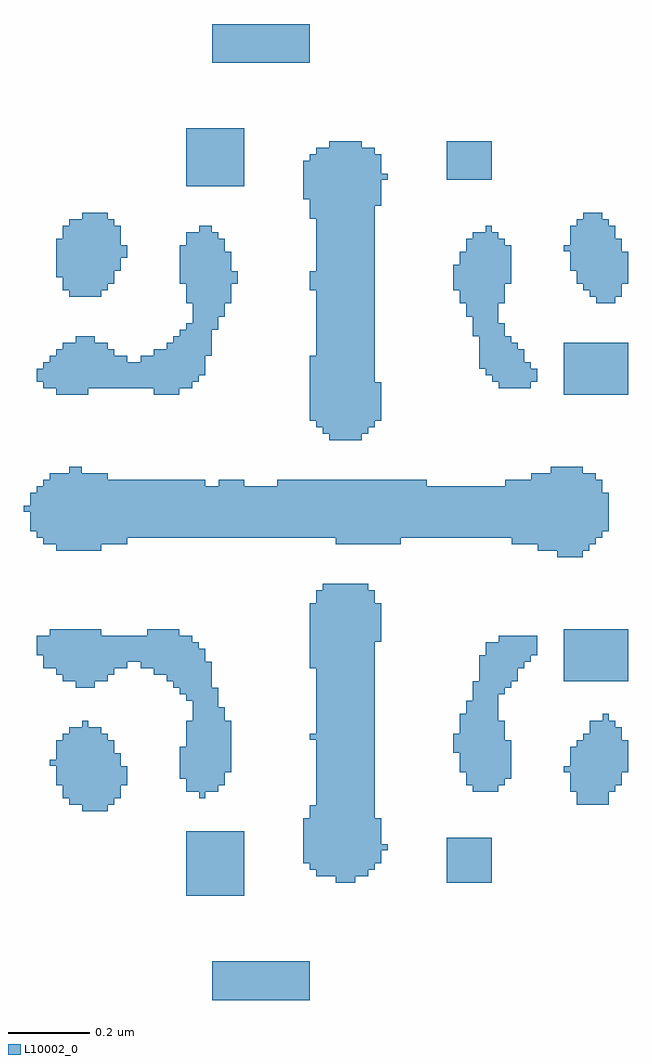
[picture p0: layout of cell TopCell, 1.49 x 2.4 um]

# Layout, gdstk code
import gdstk
lib = gdstk.Library(unit=1e-6, precision=1e-09)
def R(c, l, rs):  # rectangles x0, y0, x1, y1
    for r in rs: c.add(gdstk.rectangle(r[:2], r[2:], *l))
L10002_0 = (10002, 0)

topcell = lib.new_cell('TopCell')
R(topcell, L10002_0, [(1.472,0.72,1.711,0.815), (1.408,0.976,1.551,1.135), (1.776,1.008,1.823,1.024), (2.048,1.008,2.159,1.119), (1.728,1.024,1.855,1.04), (1.712,1.04,1.728,1.199), (1.728,1.04,1.871,1.727), (1.696,1.056,1.712,1.167), (1.871,1.056,1.887,1.167), (1.887,1.088,1.903,1.103), (1.152,1.184,1.215,1.2), (1.12,1.2,1.231,1.216), (2.368,1.2,2.447,1.359), (1.104,1.216,1.231,1.359), (1.231,1.216,1.247,1.327), (1.44,1.216,1.455,1.232), (1.408,1.232,1.487,1.248), (2.112,1.232,2.175,1.248), (2.352,1.232,2.368,1.343), (2.447,1.232,2.463,1.359), (1.088,1.248,1.104,1.359), (1.247,1.248,1.263,1.295), (1.408,1.248,1.424,1.407), (1.424,1.248,1.439,1.456), (1.439,1.248,1.455,1.583), (1.455,1.248,1.471,1.551), (1.471,1.248,1.487,1.487), (1.487,1.248,1.503,1.439), (2.096,1.248,2.175,1.455), (2.175,1.248,2.191,1.407), (2.463,1.248,2.479,1.359), (1.392,1.264,1.408,1.343), (2.191,1.264,2.207,1.359), (1.503,1.28,1.519,1.407), (2.08,1.28,2.096,1.423), (2.336,1.28,2.352,1.295), (2.479,1.28,2.495,1.359), (1.072,1.296,1.088,1.311), (2.064,1.328,2.08,1.375), (1.104,1.359,1.215,1.375), (2.384,1.359,2.479,1.375), (1.712,1.36,1.728,1.375), (1.12,1.375,1.199,1.391), (2.4,1.375,2.479,1.391), (1.152,1.391,1.167,1.407), (2.4,1.391,2.463,1.407), (2.432,1.407,2.447,1.423), (2.112,1.455,2.175,1.503), (1.408,1.456,1.439,1.472), (1.392,1.472,1.439,1.488), (2.175,1.472,2.191,1.567), (1.136,1.488,1.183,1.504), (1.376,1.488,1.439,1.504), (2.191,1.488,2.207,1.599), (2.128,1.503,2.175,1.567), (1.104,1.504,1.215,1.52), (1.36,1.504,1.439,1.52), (2.207,1.504,2.223,1.599), (2.336,1.504,2.495,1.631), (1.088,1.52,1.231,1.536), (1.328,1.52,1.439,1.536), (1.056,1.536,1.072,1.615), (1.072,1.536,1.088,1.631), (1.088,1.536,1.263,1.552), (1.296,1.536,1.439,1.552), (1.712,1.536,1.728,1.695), (2.223,1.536,2.239,1.599), (1.088,1.552,1.439,1.599), (2.239,1.552,2.255,1.615), (2.144,1.567,2.191,1.599), (1.04,1.568,1.056,1.615), (2.255,1.568,2.271,1.615), (1.088,1.599,1.423,1.615), (2.176,1.599,2.239,1.615), (1.871,1.6,1.887,1.695), (1.088,1.615,1.199,1.631), (1.312,1.615,1.391,1.631), (1.744,1.727,1.855,1.743), (2.32,1.808,2.383,1.824), (1.088,1.824,1.199,1.84), (2.272,1.824,2.399,1.84), (1.056,1.84,1.263,1.856), (1.776,1.84,1.935,1.856), (2.208,1.84,2.415,1.856), (1.04,1.856,1.056,1.983), (1.056,1.856,2.415,1.983), (2.415,1.856,2.431,1.999), (1.024,1.872,1.04,1.967), (2.431,1.872,2.447,1.967), (1.008,1.92,1.024,1.935), (1.056,1.983,1.455,1.999), (1.488,1.983,1.551,1.999), (1.632,1.983,1.999,1.999), (2.192,1.983,2.415,1.999), (1.072,1.999,1.215,2.015), (2.256,1.999,2.415,2.015), (1.12,2.015,1.151,2.031), (2.304,2.015,2.383,2.031), (1.76,2.096,1.839,2.112), (1.744,2.112,1.855,2.128), (1.728,2.128,1.871,2.144), (1.712,2.144,1.728,2.303), (1.728,2.144,1.871,2.799), (1.871,2.144,1.887,2.239), (1.088,2.208,1.167,2.224), (1.328,2.208,1.391,2.224), (2.336,2.208,2.495,2.335), (1.056,2.224,1.072,2.287), (1.072,2.224,1.088,2.303), (1.088,2.224,1.104,2.319), (1.104,2.224,1.423,2.24), (2.176,2.224,2.239,2.24), (2.239,2.224,2.255,2.287), (1.04,2.24,1.056,2.271), (1.104,2.24,1.439,2.287), (2.16,2.24,2.239,2.256), (2.255,2.24,2.271,2.271), (1.439,2.256,1.455,2.591), (2.144,2.256,2.207,2.272), (2.207,2.256,2.223,2.335), (2.223,2.256,2.239,2.319), (2.128,2.272,2.175,2.352), (2.175,2.272,2.191,2.383), (2.191,2.272,2.207,2.351), (1.104,2.287,1.263,2.303), (1.296,2.287,1.439,2.303), (1.104,2.303,1.231,2.319), (1.328,2.303,1.439,2.319), (1.455,2.304,1.471,2.591), (1.104,2.319,1.215,2.335), (1.36,2.319,1.439,2.335), (1.136,2.335,1.183,2.351), (1.376,2.335,1.439,2.351), (1.392,2.351,1.439,2.367), (2.112,2.352,2.175,2.591), (1.408,2.367,1.439,2.383), (1.471,2.368,1.487,2.591), (1.424,2.383,1.439,2.591), (1.487,2.4,1.503,2.591), (2.096,2.4,2.112,2.591), (1.408,2.432,1.424,2.591), (1.503,2.432,1.519,2.559), (2.08,2.432,2.096,2.559), (2.175,2.432,2.191,2.591), (2.416,2.432,2.463,2.448), (1.12,2.448,1.199,2.464), (2.4,2.448,2.479,2.464), (1.104,2.464,1.215,2.48), (1.712,2.464,1.728,2.511), (2.064,2.464,2.08,2.527), (2.384,2.464,2.479,2.48), (1.104,2.48,1.231,2.623), (1.392,2.48,1.408,2.575), (1.519,2.48,1.535,2.511), (2.191,2.48,2.207,2.575), (2.368,2.48,2.463,2.623), (2.463,2.48,2.479,2.591), (2.479,2.48,2.495,2.559), (1.088,2.496,1.104,2.591), (1.231,2.512,1.247,2.623), (2.352,2.512,2.368,2.623), (1.247,2.544,1.263,2.575), (2.336,2.56,2.352,2.575), (1.408,2.591,1.487,2.607), (2.112,2.591,2.175,2.607), (1.44,2.607,1.471,2.623), (2.144,2.607,2.159,2.623), (1.12,2.623,1.231,2.639), (2.368,2.623,2.447,2.639), (1.152,2.639,1.215,2.655), (2.384,2.639,2.431,2.655), (1.712,2.64,1.728,2.799), (1.871,2.672,1.887,2.799), (1.696,2.688,1.712,2.783), (1.408,2.72,1.551,2.863), (1.887,2.736,1.903,2.751), (2.048,2.736,2.159,2.831), (1.728,2.799,1.871,2.815), (1.76,2.815,1.839,2.831), (1.472,3.024,1.711,3.119)])

lib.write_gds('TopCell.gds')
